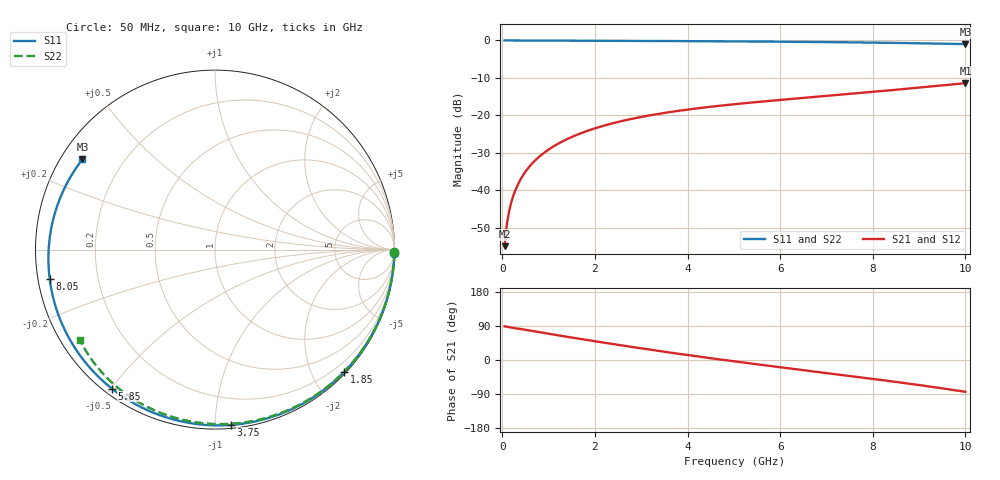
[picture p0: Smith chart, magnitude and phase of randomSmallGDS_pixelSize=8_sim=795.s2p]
! freq	dB(S11)	phase(S11)	dB(S12)	phase(S12)
!  dB(S21)	phase(S21)	dB(S22)	phase(S22)
!S-par simulation data
#  GHz  S  DB  R 50
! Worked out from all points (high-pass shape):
!   200 points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, 50 MHz to 10 GHz, reference 50 ohm
!   highest |S21| = -11.42 dB at 10 GHz (marker M1); lowest = -54.9 dB at 50 MHz (marker M2)
!   |S21| within 3 dB of the highest: 7.37 GHz to end of sweep
!   lowest |S11| = -1.0 dB at 10 GHz (marker M3), VSWR 17.75, Z = 3.08 + j15.4 ohm
!   |S11| at or under -10 dB: nowhere
!   |S22| runs from -0.9 to 0.0 dB; largest |S21 - S12| = 0
!   S11 on the Smith chart (normalised r, x): 50 MHz: 0, -95; 1.85 GHz: 0.03, -2.51; 3.75 GHz: 0.02, -1.09; 5.85 GHz: 0.02, -0.50; 8.05 GHz: 0.03, -0.09; 10 GHz: 0.06, +0.31
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0.05  -0.00 -1.2  -54.94 88.9  -54.94 88.9  -0.00 -0.9
0.1  -0.00 -2.4  -48.93 87.7  -48.93 87.7  -0.00 -1.7
0.15  -0.00 -3.6  -45.42 86.5  -45.42 86.5  -0.00 -2.6
0.2  -0.01 -4.8  -42.94 85.4  -42.94 85.4  -0.01 -3.5
0.35  -0.01 -8.4  -38.18 82.6  -38.18 82.6  -0.01 -6.0
0.5  -0.02 -12.0  -35.04 79.6  -35.04 79.6  -0.01 -8.6
0.7  -0.02 -16.7  -32.15 75.4  -32.15 75.4  -0.02 -12.0
1  -0.04 -23.8  -29.14 69.2  -29.14 69.2  -0.03 -17.1
1.75  -0.07 -41.2  -24.53 54.3  -24.53 54.3  -0.05 -29.7
1.85  -0.07 -43.5  -24.09 52.4  -24.09 52.4  -0.06 -31.4
2.65  -0.11 -61.4  -21.33 37.2  -21.33 37.2  -0.09 -44.4
3.4  -0.15 -77.5  -19.55 23.6  -19.55 23.6  -0.12 -56.2
3.75  -0.17 -84.8  -18.89 17.4  -18.89 17.4  -0.14 -61.6
4.4  -0.21 -98.1  -17.85 6.4  -17.85 6.4  -0.17 -71.4
5.05  -0.25 -111.0  -16.98 -4.2  -16.98 -4.2  -0.21 -80.9
5.85  -0.32 -126.6  -16.05 -16.8  -16.05 -16.8  -0.26 -92.2
6.7  -0.40 -143.0  -15.13 -29.8  -15.13 -29.8  -0.33 -103.8
7.4  -0.49 -156.8  -14.38 -40.5  -14.38 -40.5  -0.40 -113.0
8.05  -0.58 -170.0  -13.67 -50.6  -13.67 -50.6  -0.49 -121.5
8.35  -0.63 -176.2  -13.34 -55.4  -13.34 -55.4  -0.53 -125.3
9.2  -0.79 165.0  -12.35 -69.5  -12.35 -69.5  -0.68 -136.2
10  -0.98 145.7  -11.42 -84.0  -11.42 -84.0  -0.87 -146.4
